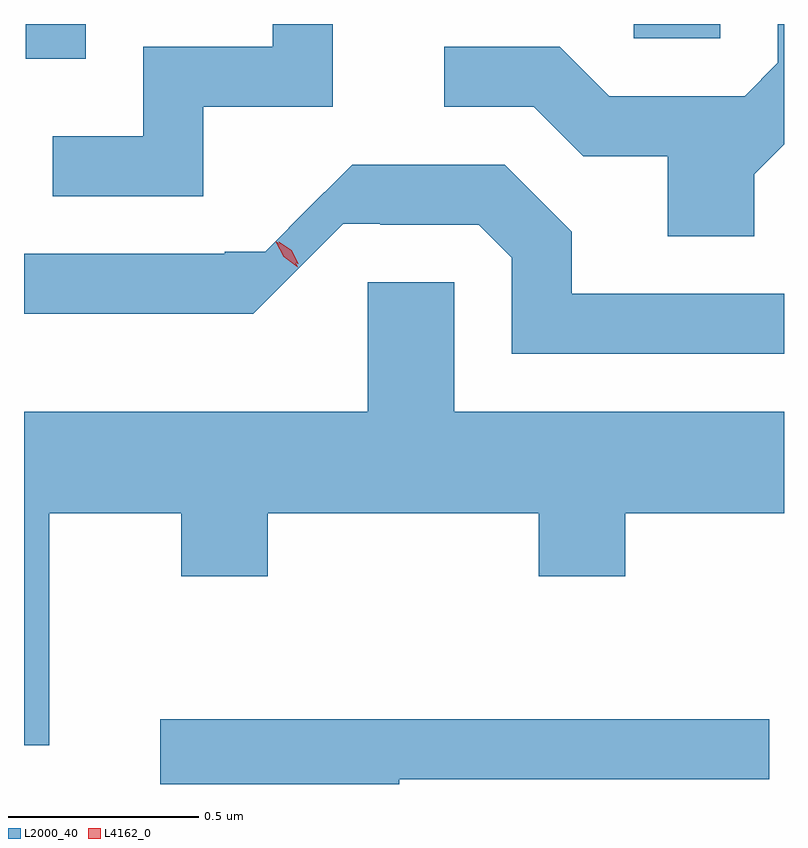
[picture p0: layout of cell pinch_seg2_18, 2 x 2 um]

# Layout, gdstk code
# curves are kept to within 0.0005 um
import gdstk
lib = gdstk.Library(unit=1e-6, precision=1e-09)
def R(c, l, rs):  # rectangles x0, y0, x1, y1
    for r in rs: c.add(gdstk.rectangle(r[:2], r[2:], *l))
def P(c, l, *ps):  # polygons
    for p in ps: c.add(gdstk.Polygon(p, *l))
L2000_40 = (2000, 40)
L4162_0 = (4162, 0)

pinch_seg2_18 = lib.new_cell('pinch_seg2_18')
R(pinch_seg2_18, L2000_40, [(1733.761,1111.673,1733.919,1111.764), (1735.361,1111.726,1735.589,1111.764)])
P(pinch_seg2_18, L2000_40, [(1735.679,1111.369),(1735.757,1111.447),(1735.757,1111.764),(1735.741,1111.764),(1735.741,1111.662),(1735.654,1111.574),(1735.297,1111.574),(1735.167,1111.704),(1734.863,1111.704),(1734.863,1111.546),(1735.099,1111.546),(1735.229,1111.416),(1735.451,1111.416),(1735.451,1111.206),(1735.679,1111.206)],
  [(1734.229,1111.546),(1734.569,1111.546),(1734.569,1111.764),(1734.411,1111.764),(1734.411,1111.704),(1734.071,1111.704),(1734.071,1111.469),(1733.833,1111.469),(1733.833,1111.311),(1734.229,1111.311)],
  [(1735.757,1111.054),(1735.199,1111.054),(1735.199,1111.217),(1735.022,1111.394),(1734.621,1111.394),(1734.548,1111.321),(1734.547,1111.321),(1734.392,1111.165),(1734.285,1111.165),(1734.285,1111.159),(1733.757,1111.159),(1733.757,1111.001),(1734.36,1111.001),(1734.597,1111.239),(1734.695,1111.239),(1734.695,1111.236),(1734.954,1111.236),(1735.041,1111.149),(1735.041,1110.896),(1735.757,1110.896)],
  [(1733.824,1110.476),(1734.171,1110.476),(1734.171,1110.311),(1734.399,1110.311),(1734.399,1110.476),(1735.111,1110.476),(1735.111,1110.311),(1735.339,1110.311),(1735.339,1110.476),(1735.757,1110.476),(1735.757,1110.744),(1734.889,1110.744),(1734.889,1111.084),(1734.661,1111.084),(1734.661,1110.744),(1733.757,1110.744),(1733.757,1109.866),(1733.824,1109.866)],
  [(1734.744,1109.776),(1735.718,1109.776),(1735.718,1109.934),(1734.116,1109.934),(1734.116,1109.764),(1734.744,1109.764)])
P(pinch_seg2_18, L4162_0, [(1734.477,1111.124),(1734.441,1111.151),(1734.419,1111.191),(1734.419,1111.192),(1734.419,1111.192),(1734.456,1111.164),(1734.478,1111.125),(1734.478,1111.124)],
  [(1734.478,1111.133),(1734.446,1111.155),(1734.428,1111.19),(1734.428,1111.191),(1734.428,1111.191),(1734.461,1111.168),(1734.479,1111.133),(1734.479,1111.133)])

lib.write_gds('pinch_seg2_18.gds')
